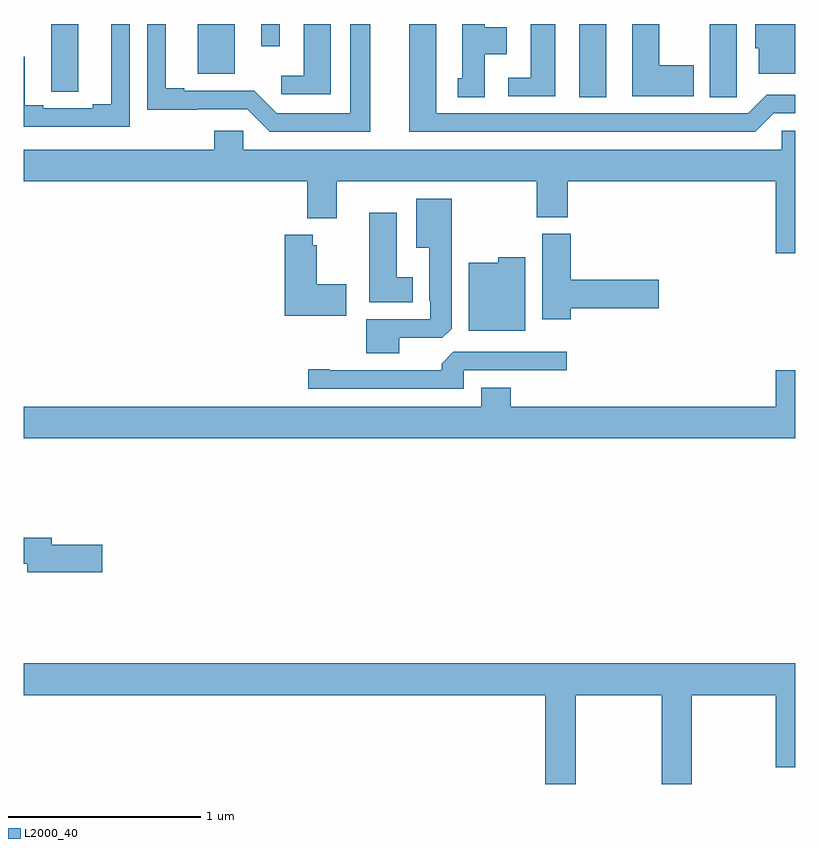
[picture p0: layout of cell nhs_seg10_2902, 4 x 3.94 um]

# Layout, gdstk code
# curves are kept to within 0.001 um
import gdstk
lib = gdstk.Library(unit=1e-6, precision=1e-09)
def R(c, l, rs):  # rectangles x0, y0, x1, y1
    for r in rs: c.add(gdstk.rectangle(r[:2], r[2:], *l))
def P(c, l, *ps):  # polygons
    for p in ps: c.add(gdstk.Polygon(p, *l))
L2000_40 = (2000, 40)

nhs_seg10_2902 = lib.new_cell('nhs_seg10_2902')
R(nhs_seg10_2902, L2000_40, [(271.88,1266.121,272.02,1266.5), (269.903,1266.242,270.094,1266.5), (270.23,1266.384,270.327,1266.5)])
P(nhs_seg10_2902, L2000_40, [(271.756,1266.5),(271.628,1266.5),(271.628,1266.222),(271.512,1266.222),(271.512,1266.126),(271.756,1266.126)],
  [(269.281,1266.5),(269.141,1266.5),(269.141,1266.256),(269.142,1266.256),(269.142,1266.148),(269.281,1266.148)],
  [(273,1266.5),(272.792,1266.5),(272.792,1266.375),(272.81,1266.375),(272.81,1266.242),(273,1266.242)],
  [(271.39,1266.344),(271.504,1266.344),(271.504,1266.484),(271.39,1266.484),(271.39,1266.5),(271.274,1266.5),(271.274,1266.219),(271.25,1266.219),(271.25,1266.121),(271.39,1266.121)],
  [(270.592,1266.5),(270.452,1266.5),(270.452,1266.232),(270.336,1266.232),(270.336,1266.135),(270.592,1266.135)],
  [(272.697,1266.232),(272.698,1266.232),(272.698,1266.5),(272.558,1266.5),(272.558,1266.121),(272.697,1266.121)],
  [(272.473,1266.285),(272.296,1266.285),(272.296,1266.5),(272.156,1266.5),(272.156,1266.125),(272.473,1266.125)],
  [(270.796,1266.5),(270.692,1266.5),(270.692,1266.036),(270.312,1266.036),(270.195,1266.153),(269.833,1266.153),(269.833,1266.166),(269.737,1266.166),(269.737,1266.5),(269.64,1266.5),(269.64,1266.056),(270.159,1266.057),(270.276,1265.94),(270.796,1265.94)],
  [(272.889,1266.036),(273,1266.036),(273,1266.132),(272.853,1266.132),(272.757,1266.036),(271.138,1266.036),(271.138,1266.5),(270.998,1266.5),(270.998,1265.94),(272.793,1265.94)],
  [(269.55,1266.5),(269.453,1266.5),(269.453,1266.083),(269.357,1266.083),(269.357,1266.063),(269.101,1266.063),(269.101,1266.078),(269.005,1266.078),(269.005,1266.329),(269,1266.329),(269,1265.967),(269.55,1265.967)],
  [(273,1265.946),(272.931,1265.946),(272.931,1265.848),(270.138,1265.848),(270.138,1265.946),(269.987,1265.946),(269.987,1265.848),(269,1265.848),(269,1265.684),(270.47,1265.684),(270.47,1265.492),(270.622,1265.492),(270.622,1265.684),(271.66,1265.684),(271.66,1265.497),(271.82,1265.497),(271.82,1265.684),(272.9,1265.684),(272.9,1265.31),(273,1265.31)],
  [(270.946,1264.872),(271.17,1264.872),(271.219,1264.921),(271.219,1265.593),(271.034,1265.593),(271.034,1265.339),(271.103,1265.339),(271.103,1265.065),(271.107,1265.065),(271.107,1264.968),(270.776,1264.968),(270.776,1264.793),(270.946,1264.793)],
  [(271.018,1265.188),(270.934,1265.188),(270.934,1265.521),(270.791,1265.521),(270.791,1265.057),(271.018,1265.057)],
  [(271.835,1265.027),(272.293,1265.027),(272.293,1265.174),(271.835,1265.174),(271.835,1265.412),(271.688,1265.412),(271.688,1264.968),(271.835,1264.968)],
  [(270.673,1265.151),(270.52,1265.151),(270.52,1265.353),(270.498,1265.353),(270.498,1265.407),(270.353,1265.407),(270.353,1264.988),(270.673,1264.988)],
  [(271.6,1265.29),(271.461,1265.29),(271.461,1265.263),(271.307,1265.263),(271.307,1264.91),(271.6,1264.91)],
  [(271.281,1264.704),(271.816,1264.704),(271.816,1264.8),(271.227,1264.8),(271.166,1264.738),(271.166,1264.704),(270.586,1264.704),(270.586,1264.709),(270.474,1264.709),(270.474,1264.608),(271.281,1264.608)],
  [(273,1264.705),(272.9,1264.705),(272.9,1264.516),(271.526,1264.516),(271.526,1264.615),(271.373,1264.615),(271.373,1264.516),(269,1264.516),(269,1264.352),(273,1264.352)],
  [(269.407,1263.8),(269.146,1263.8),(269.146,1263.836),(269,1263.836),(269,1263.7),(269.018,1263.7),(269.018,1263.658),(269.407,1263.658)],
  [(269,1263.02),(271.703,1263.02),(271.703,1262.559),(271.863,1262.559),(271.863,1263.02),(272.308,1263.02),(272.308,1262.559),(272.463,1262.559),(272.463,1263.02),(272.9,1263.02),(272.9,1262.646),(273,1262.646),(273,1263.184),(269,1263.184)])

lib.write_gds('nhs_seg10_2902.gds')
